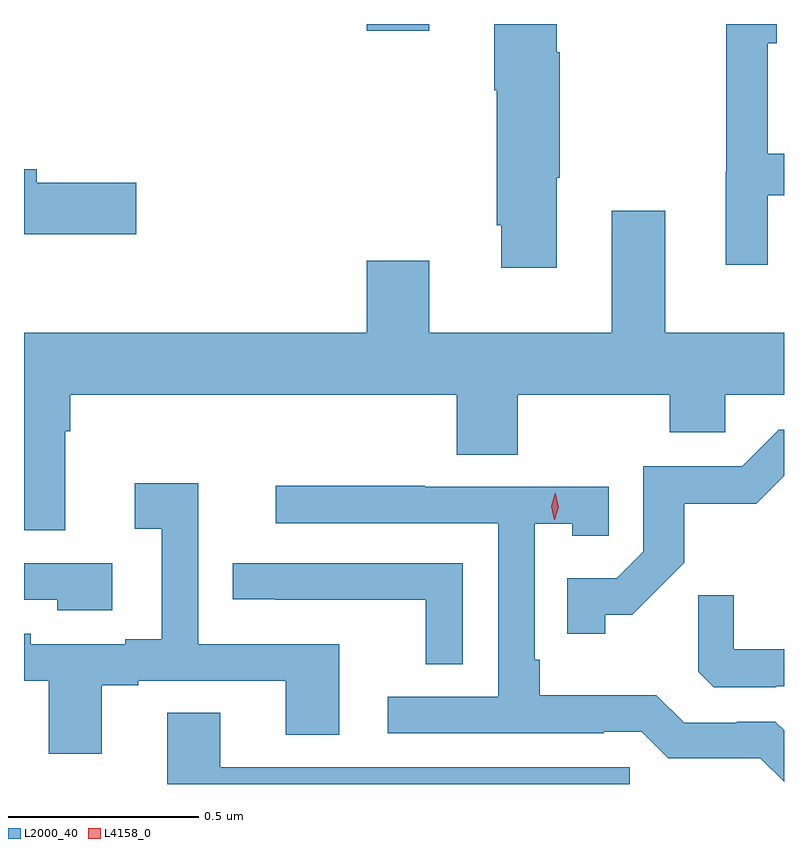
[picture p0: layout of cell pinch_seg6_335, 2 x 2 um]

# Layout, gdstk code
import gdstk
lib = gdstk.Library(unit=1e-6, precision=1e-09)
def R(c, l, rs):  # rectangles x0, y0, x1, y1
    for r in rs: c.add(gdstk.rectangle(r[:2], r[2:], *l))
def P(c, l, *ps):  # polygons
    for p in ps: c.add(gdstk.Polygon(p, *l))
L2000_40 = (2000, 40)
L4158_0 = (4158, 0)

pinch_seg6_335 = lib.new_cell('pinch_seg6_335')
R(pinch_seg6_335, L2000_40, [(656.516,996.246,656.68,996.264)])
P(pinch_seg6_335, L2000_40, [(657.016,995.86),(657.024,995.86),(657.024,996.19),(657.016,996.19),(657.016,996.264),(656.852,996.264),(656.852,996.09),(656.858,996.09),(656.858,995.734),(656.87,995.734),(656.87,995.622),(657.016,995.622)],
  [(657.571,995.814),(657.614,995.814),(657.614,995.922),(657.571,995.922),(657.571,996.213),(657.595,996.213),(657.595,996.264),(657.462,996.264),(657.462,995.875),(657.461,995.875),(657.461,995.631),(657.571,995.631)],
  [(655.909,995.846),(655.648,995.846),(655.648,995.882),(655.614,995.882),(655.614,995.711),(655.909,995.711)],
  [(655.723,995.192),(655.736,995.192),(655.736,995.288),(656.753,995.288),(656.753,995.131),(656.913,995.131),(656.913,995.288),(657.313,995.288),(657.313,995.19),(657.459,995.19),(657.459,995.288),(657.614,995.288),(657.614,995.452),(657.301,995.452),(657.301,995.773),(657.161,995.773),(657.161,995.452),(656.68,995.452),(656.68,995.641),(656.516,995.641),(656.516,995.452),(655.614,995.452),(655.614,994.932),(655.723,994.932)],
  [(657.144,994.709),(657.214,994.709),(657.352,994.846),(657.352,995.002),(657.541,995.002),(657.614,995.075),(657.614,995.196),(657.6,995.196),(657.504,995.1),(657.243,995.1),(657.243,994.875),(657.174,994.806),(657.043,994.806),(657.043,994.659),(657.144,994.659)],
  [(655.819,994.524),(655.915,994.524),(655.915,994.536),(656.303,994.536),(656.303,994.393),(656.443,994.393),(656.443,994.632),(656.073,994.632),(656.073,995.056),(655.905,995.056),(655.905,994.936),(655.976,994.936),(655.976,994.645),(655.88,994.645),(655.88,994.632),(655.632,994.632),(655.632,994.659),(655.614,994.659),(655.614,994.536),(655.679,994.536),(655.679,994.344),(655.819,994.344)],
  [(657.614,994.405),(657.591,994.428),(657.49,994.428),(657.49,994.425),(657.351,994.425),(657.278,994.498),(656.971,994.498),(656.971,994.591),(656.958,994.591),(656.958,994.949),(657.057,994.949),(657.057,994.917),(657.153,994.917),(657.153,995.046),(656.669,995.046),(656.669,995.049),(656.277,995.049),(656.277,994.95),(656.862,994.95),(656.862,994.494),(656.571,994.494),(656.571,994.398),(657.14,994.398),(657.14,994.401),(657.24,994.401),(657.309,994.332),(657.552,994.332),(657.614,994.27)],
  [(655.846,994.845),(655.614,994.845),(655.614,994.749),(655.701,994.749),(655.701,994.721),(655.846,994.721)],
  [(656.769,994.845),(656.163,994.845),(656.163,994.75),(656.275,994.75),(656.275,994.749),(656.671,994.749),(656.671,994.579),(656.769,994.579)],
  [(657.594,994.521),(657.614,994.521),(657.614,994.618),(657.482,994.618),(657.482,994.761),(657.388,994.761),(657.388,994.559),(657.429,994.518),(657.594,994.518)],
  [(657.208,994.308),(656.131,994.308),(656.131,994.451),(655.991,994.451),(655.991,994.264),(657.208,994.264)])
P(pinch_seg6_335, L4158_0, [(657.01,994.959),(657.001,994.995),(657.012,995.031),(657.012,995.031),(657.012,995.031),(657.021,994.994),(657.011,994.959),(657.011,994.959)])

lib.write_gds('pinch_seg6_335.gds')
